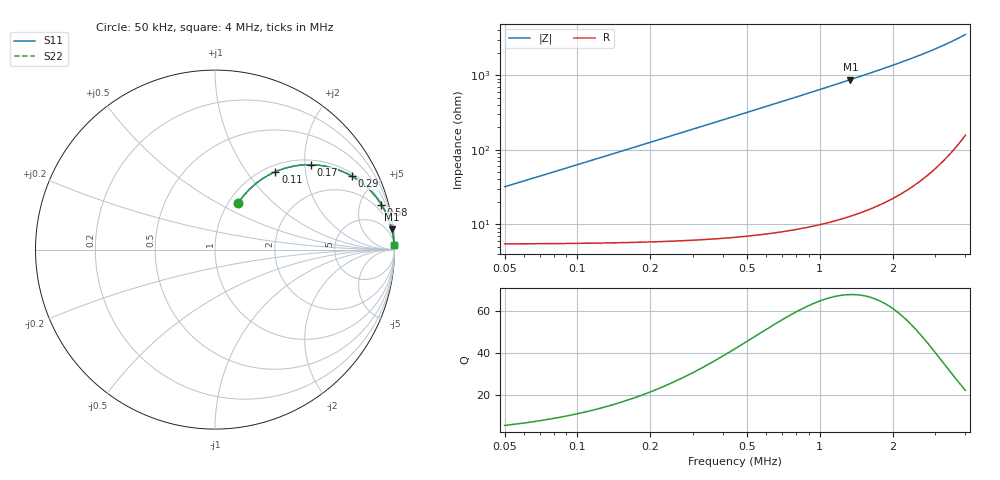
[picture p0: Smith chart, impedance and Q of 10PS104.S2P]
! Coilcraft 1008PS-104 Power Chip Inductor
! 7 October 2002
# MHZ S MA R 50
!Freq  MagS11  AngS11  MagS21  AngS21  MagS12  AngS12  MagS22  AngS22
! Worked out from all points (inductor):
!   396 points, 50 kHz to 4 MHz, reference 50 ohm
!   read as one part in series: L = 100 uH near 60 kHz
!   highest Q = 67.8 at 1.34 MHz (marker M1), where L = 103 uH
!   S11 on the Smith chart (normalised r, x): 50 kHz: 1.11, +0.63; 110 kHz: 1.11, +1.38; 170 kHz: 1.11, +2.14; 290 kHz: 1.12, +3.65; 580 kHz: 1.15, +7.33; 4 MHz: 4, +70
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0.05  0.2898 63.5  0.9087 -16.6  0.9087 -16.6  0.2898 63.5
0.06  0.3401 62.1  0.8927 -19.7  0.8927 -19.7  0.3401 62.1
0.08  0.4327 58.3  0.8556 -25.5  0.8556 -25.5  0.4327 58.3
0.11  0.5496 52.2  0.7924 -33.2  0.7924 -33.2  0.5496 52.2
0.14  0.6413 46.5  0.7273 -39.8  0.7273 -39.8  0.6413 46.5
0.17  0.7119 41.6  0.6652 -45.3  0.6652 -45.3  0.7119 41.6
0.2  0.766 37.4  0.6085 -49.9  0.6085 -49.9  0.766 37.4
0.23  0.8075 33.9  0.5578 -53.8  0.5578 -53.8  0.8075 33.9
0.29  0.865 28.3  0.4737 -59.8  0.4737 -59.8  0.865 28.3
0.35  0.9011 24.1  0.4087 -64.2  0.4087 -64.2  0.9011 24.1
0.41  0.9248 21.0  0.3578 -67.6  0.3578 -67.6  0.9248 21.0
0.49  0.9454 17.8  0.3057 -70.9  0.3057 -70.9  0.9454 17.8
0.58  0.9599 15.2  0.2618 -73.7  0.2618 -73.7  0.9599 15.2
0.71  0.9726 12.5  0.216 -76.5  0.216 -76.5  0.9726 12.5
0.99  0.9854 9.0  0.1556 -80.2  0.1556 -80.2  0.9854 9.0
1.34  0.9918 6.5  0.114 -82.6  0.114 -82.6  0.9918 6.5
1.37  0.9921 6.4  0.1114 -82.8  0.1114 -82.8  0.9921 6.4
1.68  0.9946 5.1  0.08948 -84.0  0.08948 -84.0  0.9946 5.1
2.03  0.9962 4.1  0.07237 -84.9  0.07237 -84.9  0.9962 4.1
2.69  0.9976 2.9  0.05142 -85.8  0.05142 -85.8  0.9976 2.9
3.35  0.9981 2.2  0.03796 -86.1  0.03796 -86.1  0.9981 2.2
4  0.9983 1.6  0.02845 -85.8  0.02845 -85.8  0.9983 1.6
